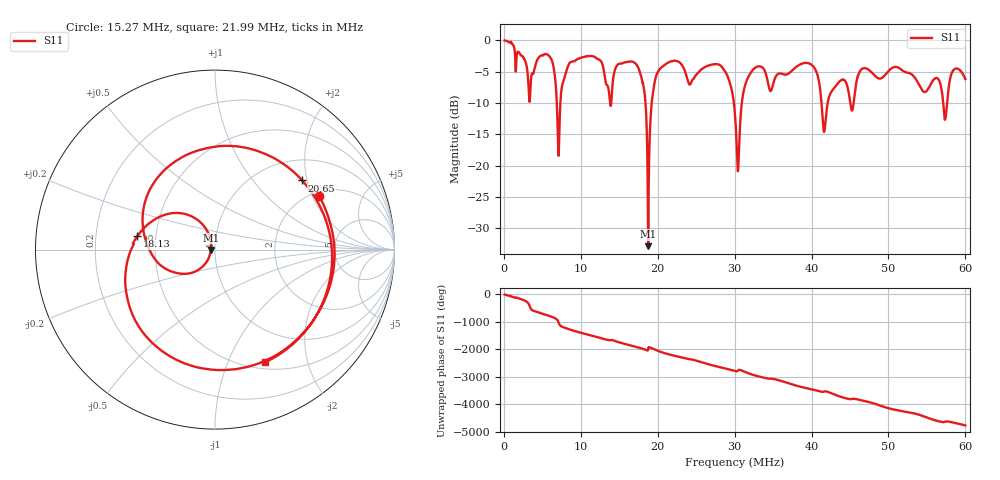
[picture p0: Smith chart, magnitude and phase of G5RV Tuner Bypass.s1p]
# Hz S RI R 50
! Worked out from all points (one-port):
!   3030 points, 100 kHz to 60 MHz, reference 50 ohm
!   lowest |S11| = -32.8 dB at 18.77 MHz (marker M1), VSWR 1.05, Z = 47.8 - j0.147 ohm
!   |S11| at or under -10 dB: 18.42 MHz to 19.21 MHz (796.3 kHz wide, 4.23 % of centre); 29.9 MHz to 30.93 MHz (1.028 MHz wide, 3.38 % of centre); 41.29 MHz to 42.09 MHz (800.8 kHz wide, 1.92 % of centre)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
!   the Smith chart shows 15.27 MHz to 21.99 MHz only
!   S11 on the Smith chart (normalised r, x): 15.27 MHz: 2.16, +2.26; 18.13 MHz: 0.39, +0.07; 20.65 MHz: 1.49, +1.87; 21.99 MHz: 0.58, -1.38
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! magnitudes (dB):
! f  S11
! 100 kHz  0.0
! 3.383 MHz  -9.4
! 5.993 MHz  -2.6
! 7.12 MHz  -18.4
! 7.595 MHz  -7.1
! 11.47 MHz  -2.5
! 13.82 MHz  -10.1
! 15.09 MHz  -3.7
! 15.27 MHz  -3.7
! 18.13 MHz  -7.1
! 18.77 MHz  -32.8
! 19.5 MHz  -7.4
! 20.65 MHz  -4.2
! 21.99 MHz  -3.3
! 22.56 MHz  -3.3
! 28.26 MHz  -4.1
! 30.06 MHz  -12.0
! 30.47 MHz  -20.3
! 31.23 MHz  -7.8
! 32.57 MHz  -4.5
! 37.55 MHz  -4.7
! 40.38 MHz  -4.4
! 41.65 MHz  -14.6
! 43.74 MHz  -6.4
! 45.03 MHz  -9.9
! 52.52 MHz  -5.2
! 57.35 MHz  -12.7
! 60 MHz  -6.2
